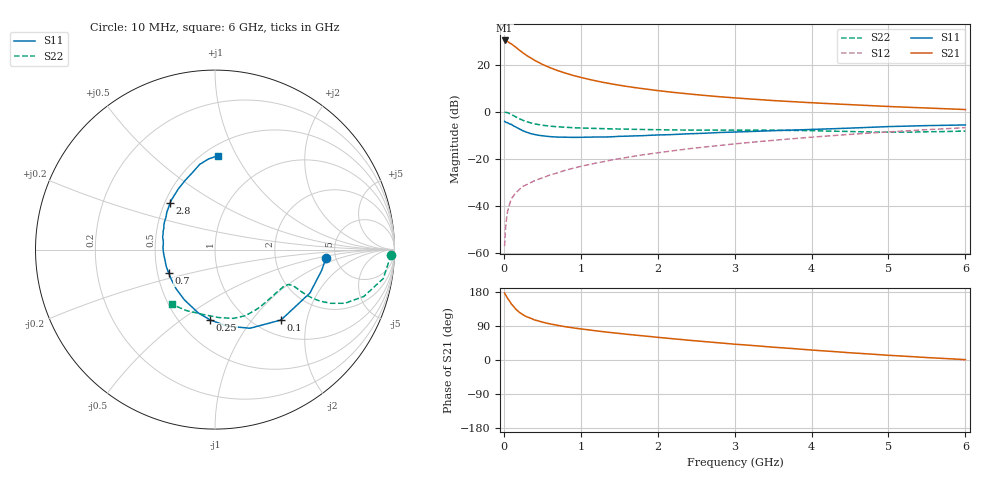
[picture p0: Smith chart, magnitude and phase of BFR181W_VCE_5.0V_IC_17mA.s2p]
! Infineon Technologies  Discrete & RF Semiconductors
! BFR181W
! VCE =  5.0 V,  IC =  17 mA
! Common Emitter S-Parameters:  Jan 2017
# GHz  S  MA  R  50
!  f  S11  S21  S12  S22
! GHz  MAG  ANG  MAG  ANG  MAG  ANG  MAG  ANG
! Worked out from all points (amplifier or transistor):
!   77 points, 10 MHz to 6 GHz, reference 50 ohm
!   highest |S21| = 30.2 dB at 10 MHz (marker M1)
!   |S21| within 3 dB of that: start of sweep to 160 MHz
!   unconditionally stable (mu >= 1): 705.8 MHz to 2.641 GHz
!   at 130 MHz: K = 0.39, MSG = 31.7 dB, |S12| = -35.5 dB
!   at 2.2 GHz: K = 1.04, MAG = 11.2 dB, |S12| = -16.6 dB
!   at 6 GHz: K = 0.83, MSG = 3.8 dB, |S12| = -6.8 dB
!   S11 on the Smith chart (normalised r, x): 10 MHz: 4.18, -0.60; 100 MHz: 1.28, -1.42; 250 MHz: 0.70, -0.65; 700 MHz: 0.57, -0.16; 2.8 GHz: 0.53, +0.32; 6 GHz: 0.59, +0.84
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0.01  0.6208 -4.1  32.47 176.7  0.0014 92.1  0.9825 -1.7
0.02  0.6051 -11.2  31.93 172.6  0.003 100.9  0.9725 -3.6
0.05  0.5816 -24.6  30.71 162.5  0.0078 81.0  0.9509 -9.8
0.1  0.5376 -46.9  27.32 147.2  0.0142 72.8  0.8691 -17.5
0.15  0.4795 -66.0  23.7 135.4  0.0186 66.3  0.7845 -22.4
0.2  0.4323 -80.9  20.34 126.1  0.0222 65.1  0.7106 -24.9
0.25  0.3927 -93.9  17.67 119.2  0.0262 63.8  0.6536 -26.1
0.3  0.3648 -104.8  15.44 113.7  0.0284 63.2  0.6093 -26.5
0.4  0.3279 -121.3  12.28 105.7  0.0343 65.2  0.5506 -26.2
0.5  0.3082 -134.3  10.11 100.0  0.0393 66.0  0.5159 -25.6
0.6  0.2956 -144.7  8.592 95.3  0.0453 67.0  0.4936 -25.1
0.7  0.289 -153.4  7.446 91.4  0.0505 69.4  0.478 -24.9
0.9  0.2848 -167.3  5.886 84.8  0.0629 70.1  0.458 -25.3
1.1  0.2883 -178.0  4.883 79.6  0.0752 71.7  0.4457 -26.3
1.3  0.2897 173.5  4.165 74.5  0.0872 72.0  0.436 -28.0
1.5  0.2998 166.5  3.646 70.1  0.1004 71.9  0.4285 -30.2
2.1  0.3236 149.1  2.687 58.0  0.1411 70.7  0.4123 -39.2
2.8  0.3615 133.9  2.08 45.2  0.1915 67.5  0.4063 -52.3
3.1  0.3744 128.3  1.912 40.3  0.215 65.7  0.4045 -57.9
4.1  0.4253 111.7  1.52 24.9  0.2957 58.4  0.3924 -77.0
5.1  0.4872 98.8  1.27 11.3  0.3807 49.5  0.3671 -103.1
6  0.5233 88.2  1.11 0.9  0.4576 40.2  0.3889 -128.3
